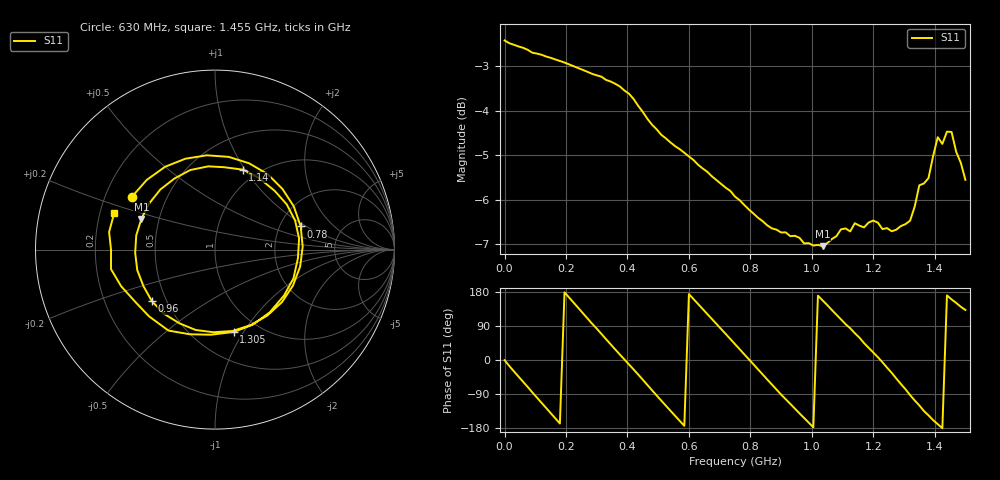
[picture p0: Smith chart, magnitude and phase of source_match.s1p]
! Created with skrf 1.8.0 (http://scikit-rf.org).
# Hz S RI R 50.0
!freq ReS11 ImS11
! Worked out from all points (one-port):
!   101 points, 50 kHz to 1.5 GHz, reference 50 ohm
!   lowest |S11| = -7.0 dB at 1.035 GHz (marker M1), VSWR 2.60, Z = 19.9 + j8.47 ohm
!   |S11| at or under -10 dB: nowhere
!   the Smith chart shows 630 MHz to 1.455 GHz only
!   S11 on the Smith chart (normalised r, x): 630 MHz: 0.31, +0.26; 780 MHz: 2.61, +0.89; 960 MHz: 0.42, -0.30; 1.14 GHz: 0.85, +0.98; 1.305 GHz: 0.77, -0.91; 1.455 GHz: 0.26, +0.17
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50000  0.7573 -0.00578
4.50485e7  0.5403 -0.514
9.0047e7  0.0619 -0.7311
1.350455e8  -0.4313 -0.5846
1.950435e8  -0.715 0.0175
2.40042e8  -0.5178 0.4783
2.850405e8  -0.068 0.6912
3.30039e8  0.3902 0.5616
3.750375e8  0.6507 0.1692
4.20036e8  0.5896 -0.2752
4.80034e8  0.107 -0.5993
5.70031e8  -0.5389 -0.19
6.30029e8  -0.4634 0.294
6.90027e8  -0.0453 0.5254
7.50025e8  0.3762 0.3374
7.80024e8  0.4775 0.1291
8.70021e8  0.1994 -0.4205
9.450185e8  -0.2832 -0.3581
9.60018e8  -0.3522 -0.2867
1.035016e9  -0.4103 0.1709
1.125012e9  0.0502 0.459
1.140012e9  0.1554 0.4453
1.21501e9  0.4685 0.061
1.305006e9  0.1049 -0.4588
1.320006e9  -0.0227 -0.4743
1.395004e9  -0.5231 -0.2039
1.455002e9  -0.5608 0.206
1.5e9  -0.3539 0.3916
